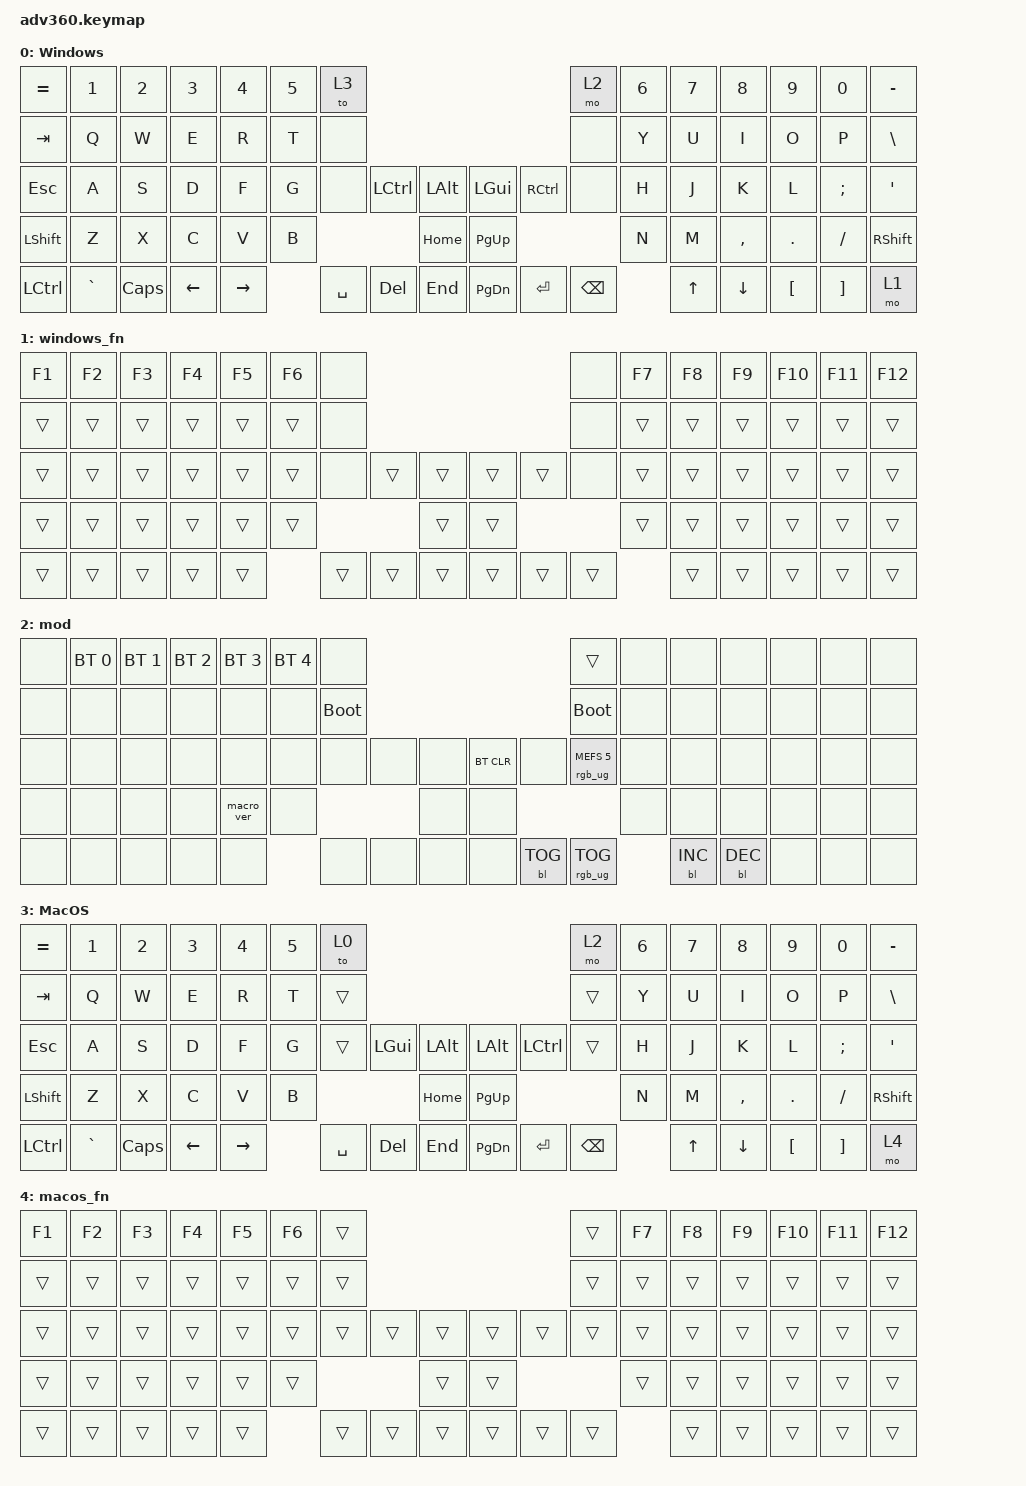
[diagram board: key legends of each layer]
#include <behaviors.dtsi>
#include <dt-bindings/zmk/backlight.h>
#include <dt-bindings/zmk/bt.h>
#include <dt-bindings/zmk/keys.h>
#include <dt-bindings/zmk/rgb.h>

/ {
    behaviors {
        #include "macros.dtsi"
      #include "version.dtsi"
      #ifndef VERSION_MACRO

        macro_ver: macro_ver {
            compatible = "zmk,behavior-macro";
            label = "macro_version";
            #binding-cells = <0>;
            bindings = <&kp RET>;
        };

        #endif

        hm: homerow_mods {
            compatible = "zmk,behavior-hold-tap";
            label = "HOMEROW_MODS";
            #binding-cells = <2>;
            tapping-term-ms = <200>;
            quick_tap_ms = <175>;
            flavor = "tap-preferred";
            bindings = <&kp>, <&kp>;
        };
    };

    macros {
    };

    keymap {
        compatible = "zmk,keymap";

        Windows {
            bindings = <
&kp EQUAL         &kp N1     &kp N2    &kp N3    &kp N4     &kp N5  &to 3                                                     &mo 2          &kp N6  &kp N7  &kp N8     &kp N9    &kp N0    &kp MINUS
&kp TAB           &kp Q      &kp W     &kp E     &kp R      &kp T   &none                                                     &none          &kp Y   &kp U   &kp I      &kp O     &kp P     &kp BSLH
&kp ESC           &kp A      &kp S     &kp D     &kp F      &kp G   &none      &kp LCTRL  &kp LALT      &kp LGUI   &kp RCTRL  &none          &kp H   &kp J   &kp K      &kp L     &kp SEMI  &kp SQT
&kp LSHFT         &kp Z      &kp X     &kp C     &kp V      &kp B                         &kp HOME      &kp PG_UP                            &kp N   &kp M   &kp COMMA  &kp DOT   &kp FSLH  &kp RSHFT
&kp LEFT_CONTROL  &kp GRAVE  &kp CAPS  &kp LEFT  &kp RIGHT          &kp SPACE  &kp DEL    &kp END       &kp PG_DN  &kp ENTER  &kp BACKSPACE          &kp UP  &kp DOWN   &kp LBKT  &kp RBKT  &mo 1
            >;
        };

        windows_fn {
            bindings = <
&kp F1  &kp F2  &kp F3  &kp F4  &kp F5  &kp F6  &none                                       &none   &kp F7  &kp F8  &kp F9  &kp F10  &kp F11  &kp F12
&trans  &trans  &trans  &trans  &trans  &trans  &none                                       &none   &trans  &trans  &trans  &trans   &trans   &trans
&trans  &trans  &trans  &trans  &trans  &trans  &none   &trans  &trans      &trans  &trans  &none   &trans  &trans  &trans  &trans   &trans   &trans
&trans  &trans  &trans  &trans  &trans  &trans                  &trans      &trans                  &trans  &trans  &trans  &trans   &trans   &trans
&trans  &trans  &trans  &trans  &trans          &trans  &trans  &trans      &trans  &trans  &trans          &trans  &trans  &trans   &trans   &trans
            >;
        };

        mod {
            bindings = <
&none  &bt BT_SEL 0  &bt BT_SEL 1  &bt BT_SEL 2  &bt BT_SEL 3  &bt BT_SEL 4  &none                                                  &trans                  &none  &none       &none       &none  &none  &none
&none  &none         &none         &none         &none         &none         &bootloader                                            &bootloader             &none  &none       &none       &none  &none  &none
&none  &none         &none         &none         &none         &none         &none        &none  &none      &bt BT_CLR  &none       &rgb_ug RGB_MEFS_CMD 5  &none  &none       &none       &none  &none  &none
&none  &none         &none         &none         &macro_ver    &none                             &none      &none                                           &none  &none       &none       &none  &none  &none
&none  &none         &none         &none         &none                       &none        &none  &none      &none       &bl BL_TOG  &rgb_ug RGB_TOG                &bl BL_INC  &bl BL_DEC  &none  &none  &none
            >;
        };

        MacOS {
            bindings = <
&kp EQUAL         &kp N1     &kp N2        &kp N3    &kp N4     &kp N5  &to 0                                                      &mo 2          &kp N6  &kp N7        &kp N8     &kp N9            &kp N0             &kp MINUS
&kp TAB           &kp Q      &kp W         &kp E     &kp R      &kp T   &trans                                                     &trans         &kp Y   &kp U         &kp I      &kp O             &kp P              &kp BSLH
&kp ESC           &kp A      &kp S         &kp D     &kp F      &kp G   &trans     &kp LGUI    &kp LALT      &kp LALT   &kp LCTRL  &trans         &kp H   &kp J         &kp K      &kp L             &kp SEMI           &kp APOS
&kp LSHFT         &kp Z      &kp X         &kp C     &kp V      &kp B                          &kp HOME      &kp PG_UP                            &kp N   &kp M         &kp COMMA  &kp DOT           &kp FSLH           &kp RSHFT
&kp LEFT_CONTROL  &kp GRAVE  &kp CAPSLOCK  &kp LEFT  &kp RIGHT          &kp SPACE  &kp DELETE  &kp END       &kp PG_DN  &kp ENTER  &kp BACKSPACE          &kp UP_ARROW  &kp DOWN   &kp LEFT_BRACKET  &kp RIGHT_BRACKET  &mo 4
            >;
        };

        macos_fn {
            bindings = <
&kp F1  &kp F2  &kp F3  &kp F4  &kp F5  &kp F6  &trans                                      &trans  &kp F7  &kp F8  &kp F9  &kp F10  &kp F11  &kp F12
&trans  &trans  &trans  &trans  &trans  &trans  &trans                                      &trans  &trans  &trans  &trans  &trans   &trans   &trans
&trans  &trans  &trans  &trans  &trans  &trans  &trans  &trans  &trans      &trans  &trans  &trans  &trans  &trans  &trans  &trans   &trans   &trans
&trans  &trans  &trans  &trans  &trans  &trans                  &trans      &trans                  &trans  &trans  &trans  &trans   &trans   &trans
&trans  &trans  &trans  &trans  &trans          &trans  &trans  &trans      &trans  &trans  &trans          &trans  &trans  &trans   &trans   &trans
            >;
        };
    };
};
